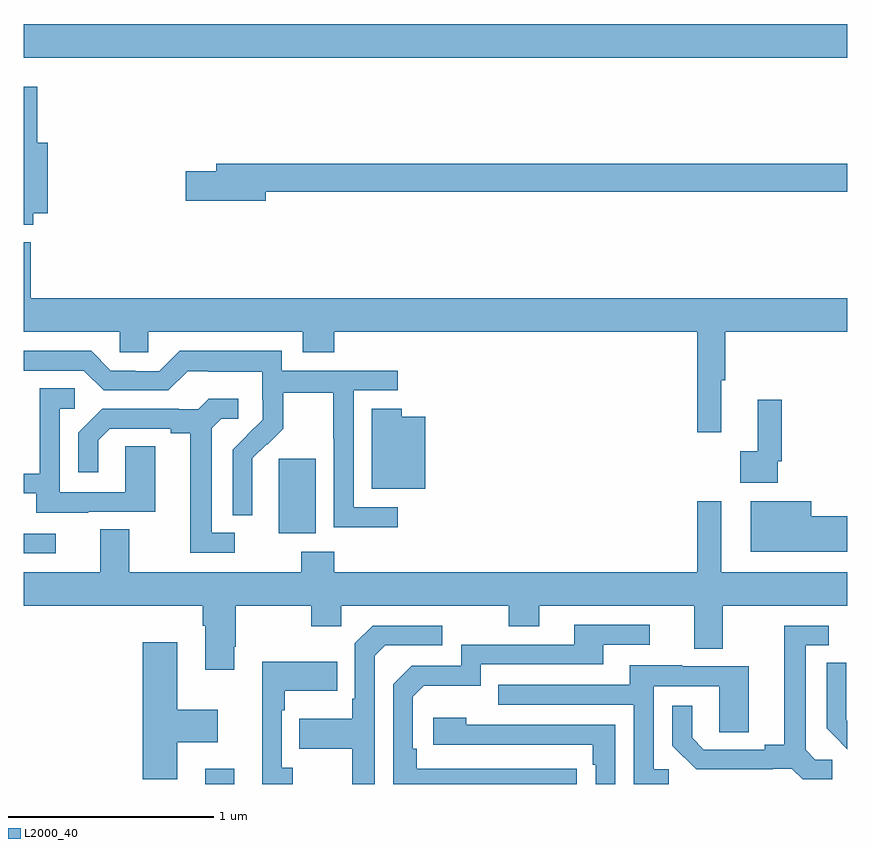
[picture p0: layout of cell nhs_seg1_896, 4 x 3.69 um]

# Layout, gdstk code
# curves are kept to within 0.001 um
import gdstk
lib = gdstk.Library(unit=1e-6, precision=1e-09)
def R(c, l, rs):  # rectangles x0, y0, x1, y1
    for r in rs: c.add(gdstk.rectangle(r[:2], r[2:], *l))
def P(c, l, *ps):  # polygons
    for p in ps: c.add(gdstk.Polygon(p, *l))
L2000_40 = (2000, 40)

nhs_seg1_896 = lib.new_cell('nhs_seg1_896')
R(nhs_seg1_896, L2000_40, [(159.881,552.199,160.021,552.274), (159,553.32,159.154,553.416), (160.238,553.418,160.417,553.779), (159,555.728,163,555.892)])
P(nhs_seg1_896, L2000_40, [(159.046,554.972),(159.116,554.972),(159.116,555.316),(159.064,555.316),(159.064,555.586),(159,555.586),(159,554.916),(159.046,554.916)],
  [(160.174,555.076),(163,555.076),(163,555.212),(159.935,555.212),(159.935,555.176),(159.786,555.176),(159.786,555.034),(160.174,555.034)],
  [(162.389,554.16),(162.407,554.16),(162.407,554.396),(163,554.396),(163,554.56),(159.034,554.56),(159.034,554.831),(159,554.831),(159,554.396),(159.465,554.396),(159.465,554.298),(159.603,554.298),(159.603,554.396),(160.355,554.396),(160.355,554.297),(160.508,554.297),(160.508,554.396),(162.271,554.396),(162.271,553.908),(162.389,553.908)],
  [(160.816,553.545),(160.602,553.545),(160.602,554.112),(160.816,554.112),(160.816,554.208),(160.254,554.208),(160.254,554.305),(159.757,554.305),(159.657,554.205),(159.542,554.205),(159.542,554.208),(159.423,554.208),(159.327,554.304),(159,554.304),(159,554.208),(159.291,554.208),(159.387,554.112),(159.702,554.112),(159.795,554.205),(159.895,554.205),(159.895,554.201),(160.158,554.201),(160.158,554.067),(160.16,554.067),(160.16,553.97),(160.014,553.822),(160.014,553.504),(160.11,553.504),(160.109,553.781),(160.179,553.851),(160.182,553.848),(160.259,553.925),(160.259,554.1),(160.504,554.1),(160.504,553.876),(160.506,553.876),(160.506,553.447),(160.816,553.447)],
  [(159.313,553.521),(159.637,553.521),(159.637,553.841),(159.492,553.841),(159.492,553.617),(159.174,553.617),(159.174,554.022),(159.247,554.022),(159.247,554.123),(159.078,554.123),(159.078,553.707),(159,553.707),(159,553.611),(159.059,553.611),(159.059,553.517),(159.313,553.517)],
  [(160.024,553.419),(159.913,553.419),(159.913,553.927),(159.96,553.974),(160.042,553.974),(160.042,554.071),(159.898,554.071),(159.846,554.019),(159.752,554.019),(159.752,554.022),(159.38,554.022),(159.264,553.906),(159.264,553.713),(159.361,553.713),(159.361,553.869),(159.418,553.926),(159.713,553.926),(159.713,553.904),(159.809,553.904),(159.809,553.323),(160.024,553.323)],
  [(162.663,553.768),(162.683,553.768),(162.683,554.065),(162.566,554.065),(162.566,553.817),(162.48,553.817),(162.48,553.664),(162.663,553.664)],
  [(160.951,553.984),(160.835,553.984),(160.835,554.023),(160.691,554.023),(160.691,553.634),(160.951,553.634)],
  [(163,553.499),(162.826,553.499),(162.826,553.573),(162.533,553.573),(162.533,553.328),(163,553.328)],
  [(160.021,552.865),(160.029,552.865),(160.029,553.064),(160.396,553.064),(160.396,552.965),(160.542,552.965),(160.542,553.064),(161.356,553.064),(161.356,552.965),(161.503,552.965),(161.503,553.064),(162.257,553.064),(162.257,552.856),(162.397,552.856),(162.397,553.064),(163,553.064),(163,553.228),(162.388,553.228),(162.388,553.573),(162.271,553.573),(162.271,553.228),(160.508,553.228),(160.508,553.327),(160.348,553.327),(160.348,553.228),(159.511,553.228),(159.511,553.436),(159.371,553.436),(159.371,553.228),(159,553.228),(159,553.064),(159.869,553.064),(159.869,552.968),(159.881,552.968),(159.881,552.753),(160.021,552.753)],
  [(161.687,552.272),(160.91,552.273),(160.91,552.37),(160.89,552.37),(160.89,552.624),(160.943,552.677),(161.22,552.677),(161.22,552.78),(161.815,552.78),(161.815,552.876),(162.04,552.876),(162.04,552.972),(161.675,552.972),(161.675,552.876),(161.124,552.876),(161.124,552.774),(160.884,552.774),(160.794,552.684),(160.794,552.199),(161.687,552.199)],
  [(160.704,552.822),(160.755,552.873),(161.032,552.873),(161.032,552.969),(160.695,552.969),(160.608,552.882),(160.608,552.613),(160.596,552.613),(160.596,552.517),(160.339,552.517),(160.339,552.37),(160.596,552.37),(160.596,552.199),(160.704,552.199)],
  [(162.928,552.318),(162.846,552.318),(162.799,552.365),(162.799,552.873),(162.91,552.873),(162.91,552.969),(162.695,552.969),(162.695,552.389),(162.599,552.389),(162.599,552.366),(162.304,552.366),(162.247,552.423),(162.247,552.58),(162.15,552.58),(162.15,552.386),(162.266,552.27),(162.638,552.27),(162.638,552.273),(162.732,552.273),(162.784,552.221),(162.928,552.221)],
  [(159.745,552.401),(159.943,552.401),(159.943,552.559),(159.745,552.559),(159.745,552.889),(159.578,552.889),(159.578,552.222),(159.745,552.222)],
  [(160.306,552.278),(160.254,552.278),(160.254,552.557),(160.267,552.557),(160.267,552.653),(160.523,552.653),(160.523,552.793),(160.157,552.793),(160.157,552.199),(160.306,552.199)],
  [(163,552.507),(162.995,552.512),(162.995,552.634),(162.996,552.634),(162.996,552.788),(162.9,552.788),(162.9,552.47),(162.973,552.397),(162.972,552.396),(163,552.368)],
  [(162.133,552.27),(162.06,552.27),(162.06,552.675),(162.378,552.675),(162.378,552.451),(162.523,552.451),(162.523,552.771),(162.199,552.771),(162.199,552.775),(161.945,552.775),(161.945,552.681),(161.305,552.681),(161.305,552.585),(161.964,552.585),(161.964,552.199),(162.133,552.199)],
  [(161.874,552.486),(161.15,552.486),(161.15,552.52),(160.989,552.52),(160.989,552.39),(161.765,552.39),(161.765,552.293),(161.778,552.293),(161.778,552.199),(161.874,552.199)])

lib.write_gds('nhs_seg1_896.gds')
